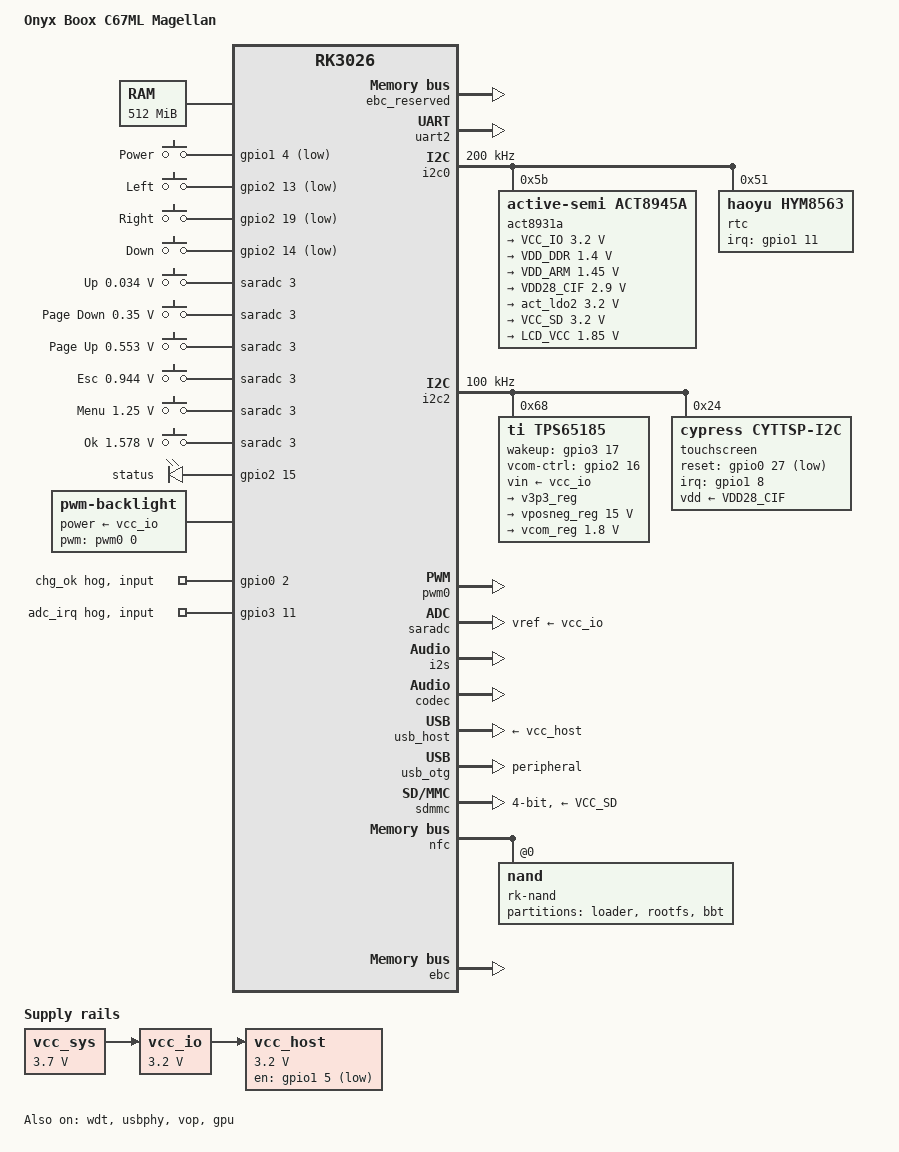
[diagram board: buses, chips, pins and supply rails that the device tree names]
// SPDX-License-Identifier: (GPL-2.0+ OR MIT)
/*
 * Device Tree for ONYX BOOX C67ML Magellan E-reader
 *
 * Copyright (c) 2024-2026
 *
 * Compatible devices (rebrands):
 *  - DOOKU e-reader
 *  - Afterglow 2 (Arta Tech, Poland)
 *  - C67ML Darwin (Russian market)
 *  - Promedia ereader (Aldi 2016, Carta, no WiFi)
 *  - Tagus Lux 2016
 *
 * Hardware:
 *  - SoC: Rockchip RK3026 (Dual-core Cortex-A9 @ 1.0 GHz)
 *  - RAM: 512 MB DDR3
 *  - Display: 6.0" E Ink 1024x758
 *  - WiFi: Realtek RTL8188EU USB
 *  - EPD Controller: TPS65185
 */

/dts-v1/;
#include "rk3026.dtsi"
#include <dt-bindings/input/input.h>

/ {
	model = "Onyx Boox C67ML Magellan";
	compatible = "onyx,c67ml-magellan", "rockchip,rk3026";

	memory@60000000 {
		device_type = "memory";
		reg = <0x60000000 0x20000000>; /* 512 MB */
	};

	chosen {
		stdout-path = "serial2:115200n8";
	};

	reserved-memory {
		#address-cells = <1>;
		#size-cells = <1>;
		ranges;

		/* EBC framebuffer + waveform staging.  Live vendor layout
		 * (dmesg "memory reserve"): 9 MB fb0 buf at 0x7f600000 and
		 * 1 MB waveform buf at 0x7ff00000, i.e. one 10 MB block. */
		/*
		 * compatible is REQUIRED for of_reserved_mem_device_init() to
		 * find ops for this region. Without it the node is only a
		 * memblock reservation: the EBC's memory-region phandle
		 * resolves to a region with no device_init and the driver gets
		 * -EINVAL -- "no reserved memory region (-22)", observed
		 * 2026-08-02. shared-dma-pool + no-map is the fixed coherent
		 * pool a framebuffer wants; "reusable"/CMA is a different thing.
		 */
		ebc_reserved: ebc@7f600000 {
			compatible = "shared-dma-pool";
			reg = <0x7f600000 0xa00000>;
			no-map;
		};

		/*
		 * Cross-stage log buffer: userspace writes its findings here,
		 * reboots into U-Boot, and `md`/`strings` read them out. DRAM
		 * survives the SPL's DDR retraining (measured 2026-08-01), which
		 * is what makes this work with no MMC and no console.
		 *
		 * Deliberately NO no-map. The region must stay in the linear map
		 * so it counts as System RAM and /dev/mem's write() path accepts
		 * it; no-map would take it out and dd would be refused. Reserving
		 * it without no-map still keeps the allocator off it, which is
		 * the actual requirement -- writing 16 KiB into whatever the
		 * kernel had allocated there is not survivable.
		 */
		boox_log_reserved: boox-log@64000000 {
			reg = <0x64000000 0x100000>;
		};

		/*
		 * ramoops: the kernel log in DRAM, so it can be read after the
		 * fact by a stage that still has a console.
		 *
		 * This exists because every channel this port has is downstream
		 * of the thing being debugged. The kernel's console is its own
		 * USB gadget, so a gadget fault is invisible by construction;
		 * UART2 is unsoldered; and booxlog's carrier is unreadable in
		 * the case it was built for, because reaching a U-Boot prompt
		 * from a wedged kernel means going through Android, which
		 * overwrites DRAM.
		 *
		 * CONSOLE ONLY, and deliberately: with record-size 0 there are
		 * no dump zones ahead of it, so the console ring starts at the
		 * base address.  Read it with `pstore display console` at the
		 * U-Boot prompt -- CONFIG_CMD_PSTORE is on and already carries
		 * these addresses (HOW-TO section 11).  NOT `md.b`: that dumps
		 * the raw region in address order, header included, so a wrapped
		 * ring reads as garbage in the middle.  Give it dump records and
		 * the console zone moves to an offset that has to be recomputed
		 * every time the sizes change.
		 *
		 * No no-map: same reasoning as boox-log above. Reserved keeps
		 * the allocator off it, and staying in the linear map avoids
		 * the uncached-mapping path.
		 */
		ramoops@64100000 {
			compatible = "ramoops";
			reg = <0x64100000 0x100000>;
			console-size = <0x100000>;
			record-size = <0>;
		};
	};

	/*
	 * Key map recovered from the running kernel's rk29_keys_pdata button
	 * array (DRAM dump, cross-checked against /sys/kernel/debug/gpio
	 * labels and directions).  Four GPIO keys, all active-low wakeups:
	 *   play  KEY_POWER    GPIO1_A4  (gpio1 4)
	 *   left  KEY_LEFT     GPIO2_B5  (gpio2 13)
	 *   right KEY_RIGHT    GPIO2_C3  (gpio2 19)
	 *   down  KEY_DOWN     GPIO2_B6  (gpio2 14)
	 * The remaining six are resistor-ladder keys on SARADC channel 3; see
	 * the adc-keys node below.
	 */
	gpio-keys {
		compatible = "gpio-keys";
		autorepeat;
		pinctrl-names = "default";
		pinctrl-0 = <&pwrbtn &key_left &key_right &key_down>;

		power {
			label = "Power";
			gpios = <&gpio1 4 GPIO_ACTIVE_LOW>;
			linux,code = <KEY_POWER>;
			wakeup-source;
		};

		left {
			label = "Left";
			gpios = <&gpio2 13 GPIO_ACTIVE_LOW>;
			linux,code = <KEY_LEFT>;
			debounce-interval = <20>;
			wakeup-source;
		};

		right {
			label = "Right";
			gpios = <&gpio2 19 GPIO_ACTIVE_LOW>;
			linux,code = <KEY_RIGHT>;
			debounce-interval = <20>;
			wakeup-source;
		};

		down {
			label = "Down";
			gpios = <&gpio2 14 GPIO_ACTIVE_LOW>;
			linux,code = <KEY_DOWN>;
			debounce-interval = <20>;
			wakeup-source;
		};
	};

	/*
	 * Resistor-ladder keys on SARADC channel 3.  The running kernel's
	 * rk29_keys button array gives raw 10-bit codes: up 11, pagedown 112,
	 * pageup 177, esc 302, menu 400, ok 505, each with a +-25 acceptance
	 * window.
	 *
	 * Scaling: 10-bit width is confirmed in the stock kernel (rk30_adc_read
	 * zero-extends with lsl/lsr #22), and the reference is whatever
	 * vref-supply gives rockchip_saradc -- vcc_io -- because adc-keys goes
	 * through iio_read_channel_processed().  So microvolts =
	 * raw * <vcc_io> / 1024.
	 *
	 * ⚠️ vcc_io became 3.20 V on 2026-08-08 (measured; it was 3.0), so
	 * every threshold here was recomputed at raw * 3200000 / 1024 =
	 * raw * 3125 exactly.  WHAT MATTERS IS THAT THE TWO AGREE: iio scales
	 * by the modelled vref, so the old 3.0 pair was self-consistent and
	 * worked, and this 3.2 pair is self-consistent and should behave
	 * identically.  Change one alone and every key shifts 6.7%.
	 * ✅ TESTED 2026-08-08 on unit 2: KEY_BACK (158), KEY_PAGEUP (104),
	 * KEY_PAGEDOWN (109) and KEY_F1 (59) all press and release cleanly,
	 * so the 3.2 V rescale did not break the ladder.
	 *
	 * ⚠️ KEY_UP (103) did not fire, and that is MECHANICAL, not a
	 * threshold fault.  `up` is one direction of a five-contact
	 * directional button, and the board was out of its chassis: the rocker
	 * floats with no backing, so the up contact is hard to actuate.
	 *
	 * The same capture shows a release of one code and a press of another
	 * at the SAME timestamp (104->109, 158->104, 109->104) -- the ADC
	 * sliding through intermediate ladder voltages as a marginal contact
	 * opens.  One press, two keys.  Wrong thresholds do not do that.
	 *
	 * 🔴 So key testing on an unmounted board does not test these values.
	 * Do NOT adjust a threshold, add debounce, or delete the `up` entry on
	 * the strength of it -- that is tuning against a test artifact.
	 * Re-test with the board mounted.
	 *
	 * NB the stock SARADC platform_data declares 3300 mV, but that is its
	 * default before ratiometric self-calibration; the vendor driver then
	 * measures the reference at 3004 mV.  Neither is the rail: it measures
	 * 3.193.  Do not take an ADC's estimate of its own reference as a
	 * reading -- this SoC's ADC path is ~5% low.
	 *
	 * The release threshold is the vendor's own boundary, not a guess:
	 * adc_core_irq_handle special-cases channel 3 and treats any reading
	 * >= raw 620 as no key pressed, so 620 * 3200000 / 1024 = 1937500.
	 * Raw 950 is its EMPTY_ADVALUE discard cutoff and 826 its "not settled
	 * yet" sentinel; neither is a level to encode here.
	 */
	adc-keys {
		compatible = "adc-keys";
		io-channels = <&saradc 3>;
		io-channel-names = "buttons";
		keyup-threshold-microvolt = <1937500>;
		poll-interval = <50>;

		button-up {
			label = "Up";
			linux,code = <KEY_UP>;
			press-threshold-microvolt = <34375>;
		};

		button-pagedown {
			label = "Page Down";
			linux,code = <KEY_PAGEDOWN>;
			press-threshold-microvolt = <350000>;
		};

		button-pageup {
			label = "Page Up";
			linux,code = <KEY_PAGEUP>;
			press-threshold-microvolt = <553125>;
		};

		button-esc {
			label = "Esc";
			linux,code = <KEY_BACK>;
			press-threshold-microvolt = <943750>;
		};

		/*
		 * Codes read out of the shipped rk29_keys_button table at
		 * 0xc0a53300 (stride 40, code at +0): esc is 158 and menu is 59,
		 * and "ok" is also 158.  An earlier revision had esc = 59 and
		 * menu = 182; 182 appears nowhere in the table.
		 */
		button-menu {
			label = "Menu";
			linux,code = <KEY_F1>;
			press-threshold-microvolt = <1250000>;
		};

		button-ok {
			label = "Ok";
			linux,code = <KEY_BACK>;
			press-threshold-microvolt = <1578125>;
		};
	};

	/* Live: one LED control line, GPIO2_B7 (gpio2 15), claimed by the
	 * vendor kernel as "leds-ctl" and driven as an output.  The previous
	 * gpio1 14/15 pair was wrong: gpio1 15 is MMC0_CMD. */
	leds {
		compatible = "gpio-leds";
		pinctrl-names = "default";
		pinctrl-0 = <&led_pins>;

		led-0 {
			label = "status";
			gpios = <&gpio2 15 GPIO_ACTIVE_HIGH>;
			/*
			 * "heartbeat", not "none": a LEVEL cannot distinguish a
			 * hung kernel from an idle one, and that distinction is
			 * the whole question on a board whose only console is a
			 * USB gadget that sometimes never enumerates.
			 *
			 * The heartbeat trigger blinks off a kernel timer, so it
			 * starts long before userspace, needs no init script,
			 * and STOPS the instant the kernel stops scheduling.
			 * Blinking = alive; frozen = hung; dark = never got here.
			 *
			 * Safe to combine with the init-script LED levels now
			 * that S99firstlight's beacon is gone -- but if anything
			 * later writes brightness directly it will fight this
			 * trigger, so give it back to "none" first.
			 */
			linux,default-trigger = "heartbeat";
		};
	};

	backlight: backlight {
		compatible = "pwm-backlight";
		/* Vendor: pwm_freq unset -> driver default 6 kHz, pclk_pwm01 48 MHz
		 * (live), LRC = 48e6/6000/2 = 4000.  166667 ns reproduces it. */
		pwms = <&pwm0 0 166667 0>;
		brightness-levels = <
			  0   1   2   3   4   5   6   7
			  8   9  10  11  12  13  14  15
			 16  17  18  19  20  21  22  23
			 24  25  26  27  28  29  30  31
			 32  33  34  35  36  37  38  39
			 40  41  42  43  44  45  46  47
			 48  49  50  51  52  53  54  55
			 56  57  58  59  60  61  62  63
			 64  65  66  67  68  69  70  71
			 72  73  74  75  76  77  78  79
			 80  81  82  83  84  85  86  87
			 88  89  90  91  92  93  94  95
			 96  97  98  99 100 101 102 103
			104 105 106 107 108 109 110 111
			112 113 114 115 116 117 118 119
			120 121 122 123 124 125 126 127
			128 129 130 131 132 133 134 135
			136 137 138 139 140 141 142 143
			144 145 146 147 148 149 150 151
			152 153 154 155 156 157 158 159
			160 161 162 163 164 165 166 167
			168 169 170 171 172 173 174 175
			176 177 178 179 180 181 182 183
			184 185 186 187 188 189 190 191
			192 193 194 195 196 197 198 199
			200 201 202 203 204 205 206 207
			208 209 210 211 212 213 214 215
			216 217 218 219 220 221 222 223
			224 225 226 227 228 229 230 231
			232 233 234 235 236 237 238 239
			240 241 242 243 244 245 246 247
			248 249 250 251 252 253 254 255>;
		/*
		 * 0, so a boot leaves the front light dark.  128 was noticeably
		 * ON at first light on 2026-08-09 (25% duty at 64 and full at 255
		 * both confirmed on the glass) -- the pad had been dark before this
		 * driver existed, so a nonzero default TURNS THE LIGHT ON rather
		 * than restoring a prior state.  The property is applied at boot:
		 * 128 lit the panel immediately on that card, before any sysfs
		 * write.  Unproven is only whether 0 is fully off or very dim.
		 */
		default-brightness-level = <0>;
		/*
		 * No enable GPIO.  rk29_backlight_io_init is only iomux_set(0xd21)
		 * -- it touches no GPIO -- and gpio0 27 (155) is the CYTTSP reset
		 * line, returned by onyx_get_tp_rst_pin (mov r0,#155).  Claiming
		 * it here would hold the touch controller in reset.
		 */
		power-supply = <&vcc_io>;
	};

	/*
	 * No headphone-detect node: GPIO1_A5, which sibling board files use
	 * for headset detect, is claimed live as "wifi_power" and driven as
	 * an output (high).  The vendor codec also logs
	 * "rk3026 hp_ctl_gpio is NULL".
	 */

	sound {
		compatible = "simple-audio-card";
		simple-audio-card,name = "rk3026-codec";
		simple-audio-card,format = "i2s";
		simple-audio-card,mclk-fs = <256>;

		simple-audio-card,cpu {
			sound-dai = <&i2s>;
		};

		simple-audio-card,codec {
			sound-dai = <&codec>;
		};
	};

	vcc_sys: vcc-sys {
		compatible = "regulator-fixed";
		regulator-name = "vcc_sys";
		regulator-always-on;
		regulator-boot-on;
		regulator-min-microvolt = <3700000>;
		regulator-max-microvolt = <3700000>;
	};

	/*
	 * 3.20 V, MEASURED at the VCC_IO1 ICT pad (3.193 under Android,
	 * 3.195 at the U-Boot prompt, unit 2, 2026-08-08).
	 *
	 * ⚠️ This said 3.0 V until then, citing the vendor driver's printk and
	 * the SARADC's own "curr_ref_volt: 3004mV". Both are wrong and in the
	 * same direction: the SoC's ADC path reads ~5% low, which the battery
	 * gauge shows independently (4.093 V reported against 4.285 measured).
	 * A self-calibration estimate is not a measurement of its own
	 * reference.
	 *
	 * This models the same rail as act_dcdc1, which is why it moved with
	 * it -- leaving 3.0 here would have left two contradictory models of
	 * one rail in one file.
	 *
	 * 🔴 It is the SARADC reference, so it scales adc-keys. Every
	 * threshold in that node was recomputed in the same change; changing
	 * one without the other silently shifts every key by 6.7%.
	 */
	vcc_io: vcc-io {
		compatible = "regulator-fixed";
		regulator-name = "vcc_io";
		regulator-always-on;
		regulator-boot-on;
		regulator-min-microvolt = <3200000>;
		regulator-max-microvolt = <3200000>;
		vin-supply = <&vcc_sys>;
	};

	/*
	 * The USB host domain, which is a gate on the 3.2 V IO rail -- not a 5 V
	 * supply. ACT8931A Table 2, written for the RK2928/RK2926, puts USB_Host
	 * on REG1 together with IO, NandFlash and TP VCC at 3.3 V, and the part
	 * has no 5 V output: REG1-REG7 plus CHGIN, the charger input.
	 *
	 * gpio1 5 is wifi_power and is ACTIVE LOW -- DR bit 5 = 1 is the radio
	 * off, 0 is on, both measured. fixed.c here does not parse
	 * enable-active-high, so this flag plus regulator-boot-on is what
	 * asserts the pin low.
	 *
	 * startup-delay-us: RTL8188EUS power-on sequence, docs/RTL8188EUS.pdf
	 * sec 7.1 Table 11 -- T_on + T_por + T_attach + T_k-state, rounded up.
	 */
	vcc_host: vcc-host {
		compatible = "regulator-fixed";
		regulator-name = "vcc_host";
		regulator-min-microvolt = <3200000>;
		regulator-max-microvolt = <3200000>;
		gpio = <&gpio1 5 GPIO_ACTIVE_LOW>;
		regulator-boot-on;
		startup-delay-us = <300000>;
		vin-supply = <&vcc_io>;
	};
};

&cpu0 {
	cpu-supply = <&VDD_ARM>;
};

&cpu1 {
	cpu-supply = <&VDD_ARM>;
};

&uart2 {
	status = "okay";
};

&i2c0 {
	status = "okay";
	/* act8931 and hym8563 both request 200 kHz; live CLKDIV 0x000f000f
	 * decodes to exactly that. */
	clock-frequency = <200000>;

	/* ACT8931: Power Management IC
	 *
	 * VCC_SYS (battery, 3.7 V nominal) -> PMIC -> seven rails:
	 *   DCDC1 -> VCC_IO   3.20 V  system IO, backlight, SARADC reference
	 *   DCDC2 -> VDD_DDR  1.40 V  DRAM core
	 *   DCDC3 -> VDD_ARM  1.45 V  ARM CPU core
	 *   LDO1  ->    ?     2.90 V  consumer UNKNOWN -- see below
	 *   LDO2  ->    ?     3.20 V  off, no consumer
	 *   LDO3  -> VCC_SD   3.20 V  SD card
	 *   LDO4  -> VCC_LCD  1.85 V  EPD; REQUIRED to drive the panel
	 *
	 * ⚠️ UNPROVEN AS A BOUND REGULATOR. No kernel has ever driven this
	 * chip: until 2026-08-08 "active-semi,act8931" matched nothing, so
	 * these numbers were only a description. They now program hardware.
	 *
	 * ⚠️ The values are MEASURED at the board's ICT pads (2026-08-08,
	 * unit 2), not decoded. That distinction is the whole point: this
	 * node previously claimed all six rails were "read back from the live
	 * act8931 driver init", and that was FALSE -- the driver reports
	 * DCDC3 = 1.400 while this node said 1.2, a figure that came from
	 * nowhere and would have undervolted the core by 250 mV.
	 *
	 * 🔴 These values are only correct against act8931_voltage_ranges in
	 * drivers/regulator/act8865-regulator.c, whose bases are one step
	 * above the ACT8865's. THE TWO MUST CHANGE TOGETHER. With the
	 * ACT8865 ranges still in place, "1.45 V" here selects code 0x1d,
	 * which this part outputs as 1.50 V -- past the SoC's 1.32 V max.
	 *
	 * ✅ Why a correct bind is a no-op: each selector computed from these
	 * values equals what the register already holds -- DCDC1 0x37,
	 * DCDC2 0x1b, DCDC3 0x1c, LDO1 0x34, LDO2 0x37, LDO3 0x37, LDO4 0x24,
	 * every one of them read back over i2c. So the driver should write
	 * the values already there and move no rail.
	 *
	 * ⚠️ LDO1's consumer is NOT VCC_TP. That pad measures ~3.00 V, which
	 * no VSET code produces, and it moved 42 mV between two boot states
	 * while LDO1's registers did not -- so the touchscreen's vdd-supply
	 * phandle below is inherited, not established (PENDING P55).
	 */
	act8931a@5b {
		compatible = "active-semi,act8945a";
		reg = <0x5b>;
		active-semi,vsel-high;
		status = "okay";

		regulators {
			/* DCDC1 -> VCC_IO. Measured 3.193/3.195; VSET 0x37. */
			VCC_IO: REG_DCDC1 {
				regulator-name = "VCC_IO";
				regulator-min-microvolt = <3200000>;
				regulator-max-microvolt = <3200000>;
				regulator-always-on;
				regulator-boot-on;
			};

			/* DCDC2 -> VDD_DDR. Measured 1.399/1.398; VSET 0x1b. */
			VDD_DDR: REG_DCDC2 {
				regulator-name = "VDD_DDR";
				regulator-min-microvolt = <1400000>;
				regulator-max-microvolt = <1400000>;
				regulator-always-on;
				regulator-boot-on;
			};

			/*
			 * DCDC3 -> VDD_ARM. Measured 1.448/1.446; VSET 0x1c.
			 *
			 * 🔴 This node said min=max=1.2 V until 2026-08-08 and
			 * that figure had no source. The rail is ~1.45, so a
			 * bind would have stepped the core down 250 mV at
			 * 912 MHz -- a hang with no message.
			 *
			 * ⚠️ min=max pins it, so cpufreq-dt cannot scale this
			 * rail. Deliberate: 1.45 V is what the hardware holds
			 * and no OPP table here has been validated against a
			 * measured rail. A real DVFS range is a later change,
			 * and it needs the RK292X AVDD max of 1.32 V resolved
			 * against a part that ships at 1.45.
			 */
			VDD_ARM: REG_DCDC3 {
				regulator-name = "VDD_ARM";
				regulator-min-microvolt = <1450000>;
				regulator-max-microvolt = <1450000>;
				regulator-always-on;
				regulator-boot-on;
			};

			/*
			 * LDO1, VSET 0x34. ⚠️ Consumer UNKNOWN -- the map said
			 * VCC_TP and that is refuted (PENDING P55). The output
			 * itself has never been measured; 2.90 V is what 0x34
			 * decodes to, so this value is DECODED, not measured.
			 */
			VDD28_CIF: REG_LDO1 {
				regulator-name = "VDD28_CIF";
				regulator-min-microvolt = <2900000>;
				regulator-max-microvolt = <2900000>;
				regulator-always-on;
				regulator-boot-on;
			};

			/* LDO2: off, no consumer. VSET 0x37. Decoded. */
			REG_LDO2 {
				regulator-name = "act_ldo2";
				regulator-min-microvolt = <3200000>;
				regulator-max-microvolt = <3200000>;
			};

			/* LDO3 -> VCC_SD, VSET 0x37. Decoded, not measured. */
			VCC_SD: REG_LDO3 {
				regulator-name = "VCC_SD";
				regulator-min-microvolt = <3200000>;
				regulator-max-microvolt = <3200000>;
				regulator-always-on;
				regulator-boot-on;
			};

			/*
			 * LDO4 -> VCC_LCD, VSET 0x24. Measured 1.869 with the
			 * rail held on and unloaded at the U-Boot prompt --
			 * the reading that established the one-step-up table
			 * on an LDO rather than a DC-DC.
			 *
			 * regulator-always-on is what keeps the panel alive
			 * once the kernel owns this chip: U-Boot enables LDO4
			 * today (f0217092339) and nothing in Linux would.
			 */
			LCD_VCC: REG_LDO4 {
				regulator-name = "LCD_VCC";
				regulator-min-microvolt = <1850000>;
				regulator-max-microvolt = <1850000>;
				regulator-always-on;
				regulator-boot-on;
			};
		};

		charger {
			compatible = "active-semi,act8945a-charger";
			// REQUIRED:
			// - interrupts
			// - active-semi,chglev-gpios
			// - active-semi,lbo-gpios
			// FIXME: check if it's the following ones:
			/* PMU_INT_PIN = RK30_PIN1_PB1 = GPIO1 pin 9 */
			/* FIXME
			* interrupts = <9 IRQ_TYPE_LEVEL_LOW>;
			* interrupt-parent = <&gpio1>;
			* 
			* pinctrl-names = "default";
			* pinctrl-0 = <&pmu_int>;
			*/

		};
	};

	/* HYM8563: RTC — RTC_INT_PIN = RK30_PIN1_PB3 = GPIO1 pin 11 */
	rtc: rtc@51 {
		compatible = "haoyu,hym8563";
		reg = <0x51>;
		interrupt-parent = <&gpio1>;
		interrupts = <11 IRQ_TYPE_EDGE_FALLING>;
		pinctrl-names = "default";
		pinctrl-0 = <&rtc_int>;
		#clock-cells = <0>;
	};
};

&i2c1 {
	status = "disabled";
};

&i2c2 {
	status = "okay";
	clock-frequency = <100000>;

	/* TPS65185: E-Paper Display Power Management IC
	 *
	 * Single-chip power supply for E Ink displays.
	 * Generates ±16V rails for display panel.
	 *
	 * wake_up_pin  = RK30_PIN3_PC1 = GPIO3 pin 17
	 * vcom_ctl_pin = RK30_PIN2_PC0 = GPIO2 pin 16
	 */
	/*
	 * Written against the UPSTREAM binding, ti,tps65185.yaml, and driven by
	 * drivers/regulator/tps65185.c.  An earlier revision described a
	 * single "epd" rail, which matched a local MFD driver that has since
	 * been deleted for duplicating (and colliding with) the upstream one.
	 *
	 * No enable-gpios: the vendor platform data sets pwr_up_pin =
	 * INVALID_GPIO, so PWRUP is not brought out and the driver uses the
	 * ENABLE register instead.
	 *
	 * No pwr-good-gpios either -- see the note in BLOCKERS: whether PGOOD
	 * reaches a SoC pin on this board is UNKNOWN, not established.  The
	 * driver treats it as optional and falls back to the PG register.  If
	 * a continuity check ever finds the net, adding the property here is
	 * strictly better than the I2C poll.
	 */
	tps65185: pmic@68 {
		compatible = "ti,tps65185";
		reg = <0x68>;
		vin-supply = <&vcc_io>;
		wakeup-gpios = <&gpio3 17 GPIO_ACTIVE_HIGH>;
		vcom-ctrl-gpios = <&gpio2 16 GPIO_ACTIVE_HIGH>;

		/*
		 * The panel thermometer. Consumed through the hwmon->thermal
		 * bridge: the driver registers with HWMON_C_REGISTER_TZ, hwmon
		 * calls devm_thermal_of_zone_register(), and that needs a zone
		 * in the DT pointing here -- see /thermal-zones/epd-thermal.
		 */
		#thermal-sensor-cells = <0>;

		pinctrl-names = "default";
		pinctrl-0 = <&tps65185_pins>;
		status = "okay";

		regulators {
			v3p3_reg: v3p3 {
				regulator-name = "v3p3";
			};

			/*
			 * 15.00 V selects VADJ = 0x03, which is the value read
			 * off this unit's own chip (HARDWARE-CONSTANTS 10b).
			 * The driver inverts the selector, so 15.00 V is
			 * list index 3 and lands on register value 3.
			 */
			vposneg_reg: vposneg {
				regulator-name = "vposneg";
				regulator-min-microvolt = <15000000>;
				regulator-max-microvolt = <15000000>;
			};

			/*
			 * Magnitude, not sign: the rail is -1.8 V.  Per-unit
			 * value, NOT the -2500 generic default -- two live
			 * sources agree (onyx_misc vcom_value = 180 centivolts
			 * and the vendor's own "read_vcom_mv = 180").  Re-read
			 * from the panel before using this DTS on another unit.
			 */
			vcom_reg: vcom {
				regulator-name = "vcom";
				regulator-min-microvolt = <1800000>;
				regulator-max-microvolt = <1800000>;
			};
		};
	};

	/* Cypress TrueTouch (cyttsp gen3): the vendor C67ML defconfig selects
	 * CONFIG_TOUCHSCREEN_XC3 (drivers/input/touchscreen/xc3_cyttsp.c), which
	 * is the legacy gen3 binding — NOT cyttsp4. I2C addr 0x24, native res
	 * 1024x758 (xc3_cyttsp.c: maxx=1024, maxy=758).
	 * TOUCH_INT_PIN = RK30_PIN1_PB0 = GPIO1 pin 8
	 * TOUCH_RST_PIN = RK30_PIN2_PB4 = GPIO2 pin 12
	 */
	touchscreen: cyttsp-i2c@24 {
		compatible = "cypress,cyttsp-i2c";
		reg = <0x24>;
		pinctrl-names = "default";
		pinctrl-0 = <&touch_int &touch_rst>;
		interrupt-parent = <&gpio1>;
		interrupts = <8 IRQ_TYPE_EDGE_FALLING>;
		/* onyx_get_tp_rst_pin returns 155 = gpio0 27; cyttsp_i2c_init
		 * pulses it low then high.  gpio2 12 is lcd_d10. */
		reset-gpios = <&gpio0 27 GPIO_ACTIVE_LOW>;
		vdd-supply = <&VDD28_CIF>;
		/* Mandatory for cyttsp_core: the vendor's exit-bootloader block
		 * (evidence/boox-zImage @ 0xc08e1e4f) is 00 ff a5 00..07, i.e.
		 * the driver's own default keys. */
		bootloader-key = /bits/ 8 <0x00 0x01 0x02 0x03 0x04 0x05 0x06 0x07>;
		/* The vendor's xy_worker toggles hst_mode bit 0x80 after every
		 * report (evidence/boox-zImage, cyttsp_xy_worker c06b3048) -- the
		 * chip holds INT asserted until acked, so without handshake the
		 * first report wedges the edge-triggered line low. Observed
		 * exactly so on 2026-08-13: one IRQ at open, then silence. */
		use-handshake;
		/* Under mainline INT never pulses for touch reports -- proven
		 * 2026-08-13: chip registers track a held finger while gpio1 8
		 * stays high; the line edges only at mode changes. (An earlier
		 * comment blamed a vendor "poll loop"; re/DRV-TOUCH-2.md
		 * refutes that -- the vendor is IRQ-driven, so the dead INT is
		 * ours alone; reset polarity is the open lead, task 78.)
		 * Poll for data; INT still serves the soft-reset
		 * bootloader-ready completion at probe. */
		poll-interval = <10>;
		/* Measured 2026-08-14 (corner drag + corner tap, device upright):
		 * origin top-left, X horizontal 0..~758, Y vertical 0..~1024, no
		 * inversion. The vendor pdata's 1024x758 is the landscape view;
		 * these are portrait, matching how the chip reports. */
		touchscreen-size-x = <758>;
		touchscreen-size-y = <1024>;
	};
};

&pwm0 {
	status = "okay";
};

/*
 * Watchdog, enabled for bring-up. Recovers a POST-BOOT hang only: dw_wdt's
 * timeout is 2^(16+TOP) cycles, bounded near 89 s at 24 MHz, which is shorter
 * than a boot on this board -- so arming it early would reset healthy boots.
 * S99watchdog starts it once init has finished; S01autoreboot covers the boot
 * window instead. See both scripts for the division of labour.
 */
&wdt {
	status = "okay";
};

&saradc {
	status = "okay";
	vref-supply = <&vcc_io>;
};

&i2s {
	status = "okay";
};

&codec {
	status = "okay";
};

&usbphy {
	status = "okay";
};

&usb_host {
	status = "okay";
	vbus-supply = <&vcc_host>;
};

/*
 * Live: the OTG controller (0x10180000) comes up in Device mode -- it is the
 * external micro-USB port.  The RTL8188EU WiFi is on the host-only controller
 * (0x101c0000), which comes up in Host mode.
 */
&usb_otg {
	status = "okay";
	/*
	 * "peripheral", NOT "otg" -- established on hardware 2026-08-03.
	 *
	 * With dr_mode = "otg", dwc2 picks its role from the ID pin at probe,
	 * and on this board it chose HOST. The ramoops log shows the proof in
	 * the shutdown sequence:
	 *
	 *	usb usb1-port1: shutdown
	 *	hub 1-0:1.0: shutdown
	 *	dwc2 10180000.usb: shutdown
	 *
	 * A root hub and a port mean a host controller, and a host controller
	 * registers no UDC -- so g_serial had nothing to bind, S50adbd found no
	 * UDC, and NOTHING could ever enumerate on the development host. That is
	 * the whole of "no console, no adb", and it is structural, not flaky:
	 * an ioreg watch at 1 Hz never saw a device appear.
	 *
	 * WHY IT EXPLAINS THE INTERMITTENCY, which nothing else did: the role is
	 * decided by an input whose state is NOT ESTABLISHED. If ID is floating
	 * or unconnected -- plausible on a 4-pin micro-B that never intended OTG
	 * host -- dwc2 reads an indeterminate value and can pick either role from
	 * boot to boot. That matches the history exactly: the console worked
	 * several times and failed several times on byte-identical images, with
	 * no correlation to any change we made.
	 *
	 * ⚠️ NOT the cable. An adapter grounding ID was proposed and is refuted:
	 * the console came up several times after that adapter was adopted.
	 *
	 * The pin's actual state remains unmeasured. Pinning the role here makes
	 * that irrelevant -- this port is the only debug channel the board has
	 * without soldering, and it must never be a host.
	 */
	dr_mode = "peripheral";
};

&sdmmc {
	status = "okay";
	bus-width = <4>;
	/*
	 * REQUIRED by rockchip_dwmmc_of_to_plat(): with neither
	 * 'clock-freq-min-max' nor 'max-frequency' it returns -EINVAL before the
	 * probe is entered, initr_mmc fails, the INITCALL fails and U-Boot calls
	 * hang() -- which presents as a lock-up, not an error.
	 * PROVEN on hardware 2026-07-28: step 40 (CRU probe done) blinks, step 41
	 * (dwmmc probe entered) does not.
	 *
	 * 50 MHz is the SD high-speed ceiling; conservative and not yet tuned.
	 */
	max-frequency = <50000000>;

	cap-mmc-highspeed;
	cap-sd-highspeed;
	card-detect-delay = <200>;
	/*
	 * UNPROVEN. dw_mci_get_cd() reads the controller's CDETECT pin
	 * (dw_mmc.c:898), i.e. MMC0_DETN -- and that pad is measured NOT wired to
	 * the socket: gpio2 pin 7 is what flips on ejection, gpio1 17 does not
	 * (2026-07-30).  So Linux sees no card and never creates mmcblk0, while
	 * U-Boot works anyway because __init_mmc_device() force-inits when
	 * !mmc_getcd().  broken-cd polls instead of trusting the pin.
	 *
	 * cd-gpios = <&gpio2 7 GPIO_ACTIVE_LOW> is the real answer and stays
	 * blocked on that pad being muxed NAND_DQS.
	 */
	broken-cd;
	disable-wp;
	pinctrl-names = "default";
	pinctrl-0 = <&sdmmc_clk &sdmmc_cmd &sdmmc_cd &sdmmc_bus4>;
	vmmc-supply = <&VCC_SD>;
	vqmmc-supply = <&vcc_io>;

	/*
	 * PIO, not IDMAC. MEASURED on U-Boot's dw_mmc driver on this exact SoC
	 * (2026-07-29, CONFIG_MMC_TRACE): every command-only step succeeds
	 * (CMD0/8/ACMD41/2/3/9/7) and ACMD51 SEND_SCR, the first DATA transfer,
	 * returns -110 ETIMEDOUT every time -- with the SD clock divider verified
	 * correct and the sdmmc pads verified muxed. HCON reads DMA_INTERFACE=1
	 * (IDMAC present), so this is "present but broken", not "absent".
	 *
	 * Corroborated across BOTH vendor kernels (DOOKU and BOOX,
	 * docs/re/DOOKU-KERNEL-RE.md): neither ever programs BMOD/DBADDR/IDSTS or
	 * sets CTRL bit 25 (USE_INTERNAL_DMA) in their rk29_sdmmc driver -- they
	 * use external PL330 DMA for large transfers and PIO for anything
	 * <= 512 bytes, which covers exactly the commands that fail here. Two
	 * independent vendor firmwares avoiding IDMAC is why this is treated as a
	 * silicon property of this SoC, not a bug in one driver -- and mainline
	 * dw_mmc has never been proven to drive it successfully either.
	 *
	 * UNPROVEN on the kernel driver specifically -- this property has not yet
	 * been tested on hardware with dw_mmc-rockchip.c. Try it first if SD/root
	 * mount hangs the same way U-Boot's did before this fix.
	 */
	fifo-mode;
};

/*
 * The internal 4 GB store is RAW NAND (NFC_V6 controller), NOT eMMC — the
 * "eMMC" on spec sheets is wrong (verified from vendor binaries; see
 * docs/HARDWARE-CONSTANTS.md).  The NAND data lines (GPIO1 D0-D7) are the same
 * pins the eMMC node would use in its FUNC2 alternate, so the two are mutually
 * exclusive.  We enable the NAND controller and leave &emmc disabled.
 *
 * Note: the vendor on-flash layout is managed by a closed FTL that mainline
 * cannot read.  This NAND is intended to be reformatted with UBI/UBIFS for a
 * mainline rootfs (the boot chain still loads from SD — the Rockchip SPL has
 * no NAND boot device).
 */
&emmc {
	status = "disabled";
};

&nfc {
	status = "okay";
	nand-is-boot-medium;
	/* IDB lives in the first 16 blocks (64MiB at 4MiB/block); keep ubiformat out. */
	rockchip,boot-blks = <16>;

	nand@0 {
		reg = <0>;
		/*
		 * Mandatory: rk_nfc_nand_chip_init() rejects the chip with
		 * -EINVAL when mtd->name is unset
		 * (rockchip-nand-controller.c:1180).  Observed on hardware
		 * 2026-08-06 -- the controller DID probe and failed only here.
		 * Name follows rk3066a-mk808.dts.
		 *
		 * PROVEN on hardware the same day: with the label present the scan
		 * reaches the chip (SanDisk, ID 0x45 0xd7, 4 GiB MLC, page 8192)
		 * and now fails one layer deeper, on OOB size -- see
		 * docs/facts/storage.md and PENDING.md P40.
		 */
		label = "rk-nand";
		nand-ecc-mode = "hw";
		/* SanDisk MLC, ID 45 d7 84 93 72 50: 40bit/1024B, from the FTL's
		 * NandFlashParaTbl and confirmed against live gNandFlashEccBits. */
		nand-ecc-strength = <40>;
		nand-ecc-step-size = <1024>;
		nand-bus-width = <8>;

		/*
		 * Declared chip is 4096 MiB (the power-of-two workaround; the
		 * real 4240 MiB cannot be expressed, facts/storage.md), so the
		 * three regions must sum to 0x100000000.
		 *   loader: blocks 0-15, IDB + the waveform at raw sector
		 *           0x800 -- never written, never formatted.
		 *   bbt:    top 48 visible blocks; the vendor's runtime BBT
		 *           scan range (last 47 real blocks) dips into
		 *           blocks 1013-1023, which are visible. The factory
		 *           BBT blocks (1045-1059) are beyond the declared
		 *           size and unreachable from mainline either way.
		 *   rootfs: slc-mode halves erasesize/size via SLC-on-MLC
		 *           emulation (requires the dist3 pairing hook in
		 *           nand_sandisk.c); the only region UBI may touch.
		 */
		partitions {
			compatible = "fixed-partitions";
			#address-cells = <1>;
			#size-cells = <1>;

			partition@0 {
				label = "loader";
				reg = <0x0 0x4000000>;
				read-only;
			};
			partition@4000000 {
				label = "rootfs";
				reg = <0x4000000 0xf0000000>;
				slc-mode;
			};
			partition@f4000000 {
				label = "bbt";
				reg = <0xf4000000 0xc000000>;
				read-only;
			};
		};
	};
};

&ebc {
	status = "okay";
	memory-region = <&ebc_reserved>;
	/*
	 * All THREE rails the panel needs, and it needs all three.
	 *
	 * vposneg is the sequenced high-voltage pair. v3p3 is the panel's logic
	 * supply. vcom drives the common electrode.
	 *
	 * ⚠️ v3p3 and vcom were declared in the PMIC node but had NO CONSUMER until
	 * 2026-08-03, so nothing ever enabled them -- and for vcom that is not
	 * merely "off": upstream tps65185 makes the VCOM_CTRL pin that regulator's
	 * ena_gpiod and requests it GPIOD_OUT_LOW, and per SLVSAQ8G pin 12 a low
	 * VCOM_CTRL *actively discharges* VCOM. So the port spent every boot
	 * bleeding the common electrode away.
	 *
	 * That is why the panel "imaged once and never again": a card started with
	 * `adb reboot` inherits a charged VCOM from Android and images while the
	 * charge lasts, then loses it for good. Blob tier confirms the target
	 * state -- the vendor writes ENABLE = 0xAF, i.e. V3P3_EN set, VCOM_EN
	 * CLEAR, VCOM controlled by the pin alone (docs/VENDOR-BLOBS.md:430).
	 */
	epd-supply = <&vposneg_reg>;
	v3p3-supply = <&v3p3_reg>;
	vcom-supply = <&vcom_reg>;

	/* E Ink ED060XC3T1, 6.0" 1024x758.  Panel ID read live from this unit's
	 * own waveform container ("_C172_WR4601_ED060XC3T1_TC").
	 * Timings recovered from vendor rk_epd/hardware_epd_public.c
	 * (CONFIG_V220_EINK_1024X758) and confirmed against live EBC registers.
	 * gdck_sta=4, lgonl=262.
	 *
	 * The vendor panel table's frame_rate=85 needs no property of its own:
	 * it is clock-frequency / (htotal 306 * vtotal 769) and comes out at
	 * exactly 85 Hz, which is how the 20 MHz dot clock was picked.  Its
	 * rotate=270 is the panel mounting angle and is the "rotation"
	 * property below.
	 *
	 * Waveform: /lib/firmware/rockchip/rk3026-c67ml.rkf — this unit's own
	 * container, rkf v1.0.110, 75708 B, dumped from the live waveform staging
 * buffer.  NB the DRIVER prints this as "rkf:v1.0.11" (boot log 2026-08-08)
 * -- fewer characters of the same version field, not a different container:
 * the byte count and the panel name both match.  Do not "correct" either.
	 * buffer.  The earlier rk3026-c67ml.wbf was a different unit's v1.0.102:
	 * trimmed, stale weight table, mode 9 offset table zeroed.
	 */
	rockchip,gdck-sta = <4>;
	rockchip,lgonl = <262>;
	rotation = <270>;

	panel-timing {
		/*
		 * 16.5 MHz source clock -> dclk 66 MHz (the driver runs dclk at 4x
		 * this: four 2-bit pixels per source clock). GPLL is 132 MHz, so
		 * /2 is the fastest this PLL can give; the vendor's 20 MHz (dclk
		 * 80) needs CPLL at 560 and is a separate change.
		 *
		 * ⚠️ This was 3 MHz (dclk 12) until 2026-08-06, with a comment
		 * calling every rate above ~12 MHz garbage and blaming the EBC's
		 * AXI master clock. Both halves were wrong, and the correction is
		 * worth keeping because the symptom was real:
		 *
		 *  - the AXI clock is NOT the limiter. aclk_ebc at 33 MHz with
		 *    dclk 12 renders a clean circle, while dclk 33 at aclk 132
		 *    renders garbage -- the configuration with four times LESS AXI
		 *    clock is the one that works.
		 *  - the limiter was hclk_ebc, the EBC's AHB slave clock, which
		 *    ran at 6 MHz because clk-rk3026.c named a parent the hardware
		 *    does not route and so nothing ever wrote CLKSEL_CON30. At
		 *    6 MHz the ceiling is between 16.5 and 22 MHz dclk; at 132 MHz,
		 *    22, 33 and 66 all render cleanly.
		 *
		 * Measured on glass, unit 1, one variable per step, with fbpoke's
		 * 50 mm `circle`. A 38-frame refresh: 3010 ms at dclk 12, 570 ms
		 * here.
		 *
		 * 🔴 This rate depends on clk-rk3026.c parking CLKSEL_CON30 on
		 * GPLL. Raising it without that is what "renders garbage" meant.
		 */
		clock-frequency = <16500000>;
		hactive = <1024>;
		vactive = <758>;
		hsync-len = <6>;	/* LSL */
		hback-porch = <6>;	/* LBL (hstart_len) */
		hfront-porch = <38>;	/* LEL (hend_len) */
		vsync-len = <2>;	/* FSL */
		vback-porch = <4>;	/* FBL (vstart_len) */
		vfront-porch = <5>;	/* FEL (vend_len) */
	};
};

&vop {
	status = "okay";
};

&gpu {
	status = "okay";
	mali-supply = <&vcc_io>;
};

&pinctrl {
	leds {
		led_pins: led-pins {
			rockchip,pins = <2 15 0 &pcfg_pull_none>;
		};
	};

	charger {
		/* The stock driver enables this pad's built-in pull; RK2928-class
		 * pads only distinguish pull on from pull off, so the direction
		 * is the pad's own and is not stated here. */
		chg_ok_pin: chg-ok-pin {
			rockchip,pins = <0 2 0 &pcfg_pull_default>;
		};
	};

	/*
	 * These inputs ask for the pad's built-in pull, not bias-pull-up:
	 * RK2928-class pads have one pull bit per pin, so the direction is the
	 * pad's own and only on/off is selectable.  bias-pull-up makes
	 * set_pull() return -ENOTSUPP, and rockchip_pinctrl_set_state() aborts a
	 * group on the first error -- so the whole group would be dropped.
	 * Live pull registers confirm every one of these pads has its pull
	 * enabled (docs/HARDWARE-CONSTANTS.md §6).
	 */
	buttons {
		pwrbtn: pwrbtn {
			rockchip,pins = <1 4 0 &pcfg_pull_default>;
		};
	};

	touchscreen {
		touch_int: touch-int {
			rockchip,pins = <1 8 0 &pcfg_pull_default>;
		};

		touch_rst: touch-rst {
			rockchip,pins = <0 27 0 &pcfg_pull_none>;
		};
	};

	pmic {
		pmu_int: pmu-int {
			rockchip,pins = <1 9 0 &pcfg_pull_default>;
		};
	};

	epd-pmic {
		/* Confirmed live (gpio debugfs "papyrus-wake_up" / "papyrus-vcom-ctl",
		 * both outputs driven high):
		 * wake_up = RK30_PIN3_PC1 = GPIO3 pin 17
		 * vcom_ctl = RK30_PIN2_PC0 = GPIO2 pin 16 */
		tps65185_pins: tps65185-pins {
			rockchip,pins = <3 17 0 &pcfg_pull_none>,
					<2 16 0 &pcfg_pull_none>;
		};
	};

	rtc {
		/* RTC_INT_PIN = RK30_PIN1_PB3 = GPIO1 pin 11 */
		rtc_int: rtc-int {
			rockchip,pins = <1 11 0 &pcfg_pull_default>;
		};
	};

	keys {
		key_left: key-left {
			rockchip,pins = <2 13 0 &pcfg_pull_default>;
		};

		key_right: key-right {
			rockchip,pins = <2 19 0 &pcfg_pull_default>;
		};

		key_down: key-down {
			rockchip,pins = <2 14 0 &pcfg_pull_default>;
		};
	};
};

/*
 * Two input-only lines that belong to no mainline driver.  Hogging them as
 * inputs is the whole point: it stops anything from driving a pin the board
 * has wired to an external source.
 *
 * gpio0 2 is the charger's chg_ok status line, and it is ACTIVE HIGH: the
 * stock is_charge_ok() reads the pin and compares it for equality against
 * charge_ok_level, which is 1.  High means charging complete.  It is not the
 * page-turn key the vendor board file also claims it for.
 *
 * The stock driver also calls gpio_pull_updown(pin, 1), which on this SoC
 * clears the GRF pull bit, i.e. enables the pad's built-in pull.  The
 * direction is fixed by the pad class and is not selectable in hardware --
 * RK2928-class pads only distinguish pull on from pull off -- so the DT says
 * bias-pull-pin-default rather than claiming a direction.
 *
 * Still a hog rather than a gpio-charger: nothing in this config consumes
 * charger status, and inventing a consumer would be worse than stating the
 * facts here.
 *
 * gpio3 11 is adc_irq_io from the rk29_keys platform data (pin 235), the line
 * that tells the vendor driver to sample the resistor ladder.  Mainline polls
 * the ADC instead, so nothing consumes it.
 */
&gpio0 {
	pinctrl-names = "default";
	pinctrl-0 = <&chg_ok_pin>;

	chg-ok-hog {
		gpio-hog;
		gpios = <2 GPIO_ACTIVE_HIGH>;
		input;
		line-name = "chg_ok";
	};
};

&gpio3 {
	adc-irq-hog {
		gpio-hog;
		gpios = <11 GPIO_ACTIVE_HIGH>;
		input;
		line-name = "adc_irq";
	};
};

/*
 * Panel thermometer, reached through the hwmon->thermal bridge.
 *
 * The EBC reads a zone named "epd-thermal" before every refresh: the waveform
 * container carries one LUT per temperature bucket, so a wrong reading under-
 * or over-drives the pigment.
 *
 * An earlier revision deleted this node, arguing that the upstream tps65185
 * exposes the thermometer via HWMON and "does not register itself as a DT
 * thermal sensor -- so a thermal-sensors phandle to it does not resolve".
 * That is WRONG, and it is why the port ran its whole life on the 25 C bucket.
 * The driver registers with HWMON_C_REGISTER_TZ, and hwmon.c:243 then calls
 * devm_thermal_of_zone_register() on its behalf; the observed message
 *
 *     hwmon hwmon0: temp1_input not attached to any thermal zone
 *
 * is the -ENODEV path at hwmon.c:248 -- the bridge ran and found no DT zone
 * pointing at the sensor. Supplying one is the whole fix; no driver change is
 * needed. Gated only on IS_ENABLED(CONFIG_THERMAL_OF), which we have.
 *
 * No trips and no polling: the EBC calls thermal_zone_get_temp() on demand,
 * and there is nothing to cool.
 */
/ {
	thermal-zones {
		epd-thermal {
			polling-delay = <0>;
			polling-delay-passive = <0>;
			thermal-sensors = <&tps65185>;
		};
	};
};
